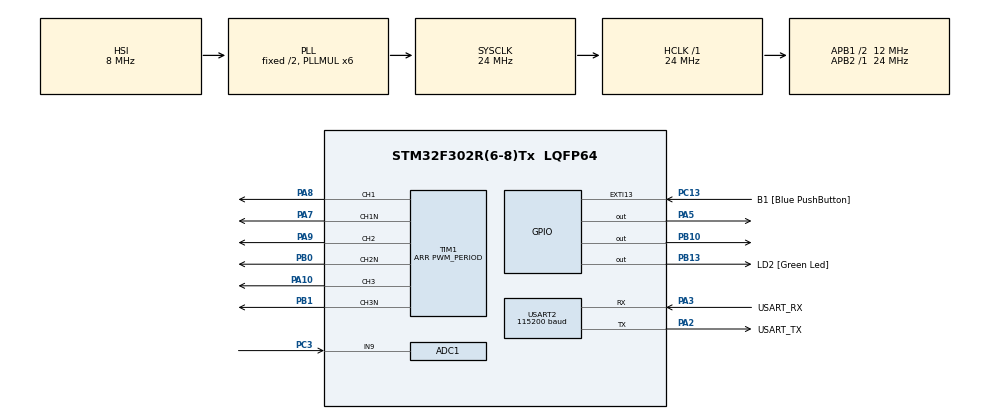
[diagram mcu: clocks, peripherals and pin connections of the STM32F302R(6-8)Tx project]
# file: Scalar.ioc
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ADC1.Channel-0\#ChannelRegularConversion=ADC_CHANNEL_9
ADC1.ContinuousConvMode=ENABLE
ADC1.NbrOfConversionFlag=1
ADC1.Offset-0\#ChannelRegularConversion=0
ADC1.OffsetNumber-0\#ChannelRegularConversion=ADC_OFFSET_NONE
ADC1.Rank-0\#ChannelRegularConversion=1
ADC1.SamplingTime-0\#ChannelRegularConversion=ADC_SAMPLETIME_1CYCLE_5
ADC1.SubFamily=STM32F302x8
ADC1.master=1
Mcu.Family=STM32F3
Mcu.Name=STM32F302R(6-8)Tx
Mcu.Package=LQFP64
Mcu.UserConstants=PWM_PRSC,0;CKTIM,24000000;PWM_FREQ,14400;DEADTIME_NS,1000;PWM_PERIOD,833
NVIC.PriorityGroup=NVIC_PRIORITYGROUP_0
NVIC.TIM6_DAC_IRQn=true\:0\:0\:false\:false\:true
PA10.GPIO_Speed=GPIO_SPEED_FREQ_HIGH
PA10.Signal=S_TIM1_CH3
PA13.GPIO_Label=TMS
PA13.Mode=Serial_Wire
PA13.Signal=SYS_JTMS-SWDIO
PA14.GPIO_Label=TCK
PA14.Mode=Serial_Wire
PA14.Signal=SYS_JTCK-SWCLK
PA2.GPIO_Label=USART_TX
PA2.GPIO_Mode=GPIO_MODE_AF_PP
PA2.GPIO_PuPd=GPIO_NOPULL
PA2.GPIO_Speed=GPIO_SPEED_FREQ_LOW
PA2.Mode=Asynchronous
PA2.Signal=USART2_TX
PA3.GPIO_Label=USART_RX
PA3.GPIO_Mode=GPIO_MODE_AF_PP
PA3.GPIO_PuPd=GPIO_NOPULL
PA3.GPIO_Speed=GPIO_SPEED_FREQ_LOW
PA3.Mode=Asynchronous
PA3.Signal=USART2_RX
PA5.Signal=GPIO_Output
PA7.GPIO_Speed=GPIO_SPEED_FREQ_HIGH
PA7.Mode=PWM Generation1 CH1 CH1N
PA7.Signal=TIM1_CH1N
PA8.GPIO_Speed=GPIO_SPEED_FREQ_HIGH
PA8.Signal=S_TIM1_CH1
PA9.GPIO_Speed=GPIO_SPEED_FREQ_HIGH
PA9.Signal=S_TIM1_CH2
PB0.GPIO_Speed=GPIO_SPEED_FREQ_HIGH
PB0.Mode=PWM Generation2 CH2 CH2N
PB0.Signal=TIM1_CH2N
PB1.GPIO_Speed=GPIO_SPEED_FREQ_HIGH
PB1.Mode=PWM Generation3 CH3 CH3N
PB1.Signal=TIM1_CH3N
PB10.Signal=GPIO_Output
PB13.GPIO_Label=LD2 [Green Led]
PB13.Signal=GPIO_Output
PB3.GPIO_Label=SWO
PB3.Signal=SYS_JTDO-TRACESWO
PC13.GPIO_Label=B1 [Blue PushButton]
PC13.GPIO_ModeDefaultEXTI=GPIO_MODE_EVT_RISING
PC13.Signal=GPXTI13
PC14\ -\ OSC32_IN.Signal=RCC_OSC32_IN
PC15\ -\ OSC32_OUT.Signal=RCC_OSC32_OUT
PC3.Signal=ADCx_IN9
PF0-OSC_IN.Signal=RCC_OSC_IN
PF1-OSC_OUT.Signal=RCC_OSC_OUT
ProjectManager.HeapSize=0x200
ProjectManager.StackSize=0x400
ProjectManager.TargetToolchain=SW4STM32
RCC.AHBFreq_Value=24000000
RCC.APB1CLKDivider=RCC_HCLK_DIV2
RCC.APB1Freq_Value=12000000
RCC.APB1TimFreq_Value=24000000
RCC.APB2Freq_Value=24000000
RCC.APB2TimFreq_Value=24000000
RCC.CortexFreq_Value=24000000
RCC.HCLKFreq_Value=24000000
RCC.HSE_VALUE=8000000
RCC.HSI_VALUE=8000000
RCC.LSE_VALUE=32768
RCC.PLLM=8
RCC.PLLMUL=RCC_PLL_MUL6
RCC.PLLN=336
RCC.PLLP=RCC_PLLP_DIV4
RCC.PLLQ=7
RCC.RCC_PLLsource_Clock_Source_FROM_HSE=RCC_HSE_PREDIV_DIV2
RCC.SYSCLKFreq_VALUE=24000000
RCC.SYSCLKSourceVirtual=RCC_SYSCLKSOURCE_PLLCLK
RCC.USBFreq_Value=24000000
SH.ADCx_IN9.0=ADC1_IN9,IN9-Single-Ended
SH.S_TIM1_CH1.0=TIM1_CH1,PWM Generation1 CH1 CH1N
SH.S_TIM1_CH2.0=TIM1_CH2,PWM Generation2 CH2 CH2N
SH.S_TIM1_CH3.0=TIM1_CH3,PWM Generation3 CH3 CH3N
TIM1.Channel-PWM\ Generation2\ CH2\ CH2N=TIM_CHANNEL_2
TIM1.Channel-PWM\ Generation3\ CH3\ CH3N=TIM_CHANNEL_3
TIM1.ClockDivision=TIM_CLOCKDIVISION_DIV2
TIM1.CounterMode=TIM_COUNTERMODE_CENTERALIGNED1
TIM1.DeadTime=12
TIM1.LockLevel=TIM_LOCKLEVEL_1
TIM1.OCFastMode_PWM-PWM\ Generation1\ CH1\ CH1N=TIM_OCFAST_DISABLE
TIM1.OCFastMode_PWM-PWM\ Generation2\ CH2\ CH2N=TIM_OCFAST_DISABLE
TIM1.OCFastMode_PWM-PWM\ Generation3\ CH3\ CH3N=TIM_OCFAST_DISABLE
TIM1.OffStateIDLEMode=TIM_OSSI_ENABLE
TIM1.OffStateRunMode=TIM_OSSR_ENABLE
TIM1.Period=PWM_PERIOD
TIM1.Pulse-PWM\ Generation1\ CH1\ CH1N=0x505
TIM1.Pulse-PWM\ Generation2\ CH2\ CH2N=0x505
TIM1.Pulse-PWM\ Generation3\ CH3\ CH3N=0x505
TIM1.RepetitionCounter=1
TIM1.TIM_MasterOutputTrigger=TIM_TRGO_UPDATE
TIM6.Period=99
TIM6.Prescaler=23
USART2.BaudRate=115200
USART2.WordLength=UART_WORDLENGTH_8B
VP_TIM1_VS_ClockSourceINT.Mode=Internal
VP_TIM6_VS_ClockSourceINT.Mode=Enable_Timer
board=NUCLEO-F302R8

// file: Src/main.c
/**
  ******************************************************************************
  * File Name          : main.c
  * Description        : Main program body
  ******************************************************************************
  *
  * COPYRIGHT(c) 2016 STMicroelectronics
  *
  * Redistribution and use in source and binary forms, with or without modification,
  * are permitted provided that the following conditions are met:
  *   1. Redistributions of source code must retain the above copyright notice,
  *      this list of conditions and the following disclaimer.
  *   2. Redistributions in binary form must reproduce the above copyright notice,
  *      this list of conditions and the following disclaimer in the documentation
  *      and/or other materials provided with the distribution.
  *   3. Neither the name of STMicroelectronics nor the names of its contributors
  *      may be used to endorse or promote products derived from this software
  *      without specific prior written permission.
  *
  * THIS SOFTWARE IS PROVIDED BY THE COPYRIGHT HOLDERS AND CONTRIBUTORS "AS IS"
  * AND ANY EXPRESS OR IMPLIED WARRANTIES, INCLUDING, BUT NOT LIMITED TO, THE
  * IMPLIED WARRANTIES OF MERCHANTABILITY AND FITNESS FOR A PARTICULAR PURPOSE ARE
  * DISCLAIMED. IN NO EVENT SHALL THE COPYRIGHT HOLDER OR CONTRIBUTORS BE LIABLE
  * FOR ANY DIRECT, INDIRECT, INCIDENTAL, SPECIAL, EXEMPLARY, OR CONSEQUENTIAL
  * DAMAGES (INCLUDING, BUT NOT LIMITED TO, PROCUREMENT OF SUBSTITUTE GOODS OR
  * SERVICES; LOSS OF USE, DATA, OR PROFITS; OR BUSINESS INTERRUPTION) HOWEVER
  * CAUSED AND ON ANY THEORY OF LIABILITY, WHETHER IN CONTRACT, STRICT LIABILITY,
  * OR TORT (INCLUDING NEGLIGENCE OR OTHERWISE) ARISING IN ANY WAY OUT OF THE USE
  * OF THIS SOFTWARE, EVEN IF ADVISED OF THE POSSIBILITY OF SUCH DAMAGE.
  *
  ******************************************************************************
  */
#include "stm32f3xx_hal.h"
#include "adc.h"
#include "tim.h"
#include "usart.h"
#include "gpio.h"

/* USER CODE BEGIN Includes */
#include "MC_const.h"
#include "MC_type.h"
/* USER CODE END Includes */

/* USER CODE BEGIN PV */
/* Private variables ---------------------------------------------------------*/
unsigned int iAccumulator = 0;
volatile unsigned int iFreqCode = 0;
volatile uint8_t cBotState = SET;
volatile uint8_t cRampTurnOnOff = 0;
Volt_Components Stat_Volt_alfa_beta;        /*Valpha & Vbeta, RevPark transformations of Vq & Vd*/
uint8_t iTableAddr = 0;
//static s16 hSin_Theta,*/ hCos_Theta;
const int16_t hSin_Cos_Table[256] = SIN_COS_TABLE;
extern volatile unsigned int iRampTick;
/* USER CODE END PV */

void SystemClock_Config(void);
void Error_Handler(void);

/* USER CODE BEGIN PFP */
/* Private function prototypes -----------------------------------------------*/
void RampTurnOn(void);
void RampTurnOff(void);
void GPIO_Set_Led3(unsigned char On);
void GPIO_Set_Led4(unsigned char On);
void GPIO_Set_Sync(unsigned char On);
unsigned char GPIO_GetBtn();
uint32_t Adc_Read(uint8_t channel);
void SVPWM_IcsCalcDutyCycles (Volt_Components Stat_Volt_Input);
void UpdatePWM();
/* USER CODE END PFP */

/* USER CODE BEGIN 0 */
#define LED3_GPIO_PORT          GPIOA
#define LED3_GPIO_PIN           GPIO_PIN_5

#define LED4_GPIO_PORT          GPIOB
#define LED4_GPIO_PIN           GPIO_PIN_13

#define BTN_GPIO_PORT          GPIOC
#define BTN_GPIO_PIN           GPIO_PIN_13

#define SQRT_3		1.732051
#define T		(PWM_PERIOD * 4)
#define T_SQRT3         (uint16_t)(T * SQRT_3)

#define SECTOR_1	(uint32_t)1
#define SECTOR_2	(uint32_t)2
#define SECTOR_3	(uint32_t)3
#define SECTOR_4	(uint32_t)4
#define SECTOR_5	(uint32_t)5
#define SECTOR_6	(uint32_t)6
/* USER CODE END 0 */

int main(void)
{

  /* MCU Configuration----------------------------------------------------------*/

  /* Reset of all peripherals, Initializes the Flash interface and the Systick. */
  HAL_Init();

  /* Configure the system clock */
  SystemClock_Config();

  /* Initialize all configured peripherals */
  MX_GPIO_Init();
  MX_ADC1_Init();
  MX_TIM1_Init();
  MX_TIM6_Init();
  MX_USART2_UART_Init();

  /* USER CODE BEGIN 2 */
//  TIM_Cmd(TIM1, ENABLE);
//  TIM_CtrlPWMOutputs( TIM1, ENABLE);
  /* USER CODE END 2 */

  /* Infinite loop */
  /* USER CODE BEGIN WHILE */
  HAL_TIM_Base_Start(&htim1);
  HAL_TIM_PWM_Start(&htim1,TIM_CHANNEL_1);
  HAL_TIM_PWM_Start(&htim1,TIM_CHANNEL_2);
  HAL_TIM_PWM_Start(&htim1,TIM_CHANNEL_3);
  HAL_TIMEx_PWMN_Start(&htim1,TIM_CHANNEL_1);
  HAL_TIMEx_PWMN_Start(&htim1,TIM_CHANNEL_2);
  HAL_TIMEx_PWMN_Start(&htim1,TIM_CHANNEL_3);
  while (1)
  {
  /* USER CODE END WHILE */

  /* USER CODE BEGIN 3 */

    iFreqCode = Adc_Read(13)*5243;
//    if(cBotState == RESET)
//    {
//      if(cRampTurnOnOff == TURN_ON)
//      {
//        RampTurnOn();
//      }
//      else if (cRampTurnOnOff == TURN_OFF)
//      {
//        RampTurnOff();
//      }
//      cBotState = SET;
//    }
//    if (cRampTurnOnOff == TURN_POT)
//    {
//      iFreqCode = Adc_Read(13)*5243;
//    }
  }
  /* USER CODE END 3 */

}

/** System Clock Configuration
*/
void SystemClock_Config(void)
{

  RCC_OscInitTypeDef RCC_OscInitStruct;
  RCC_ClkInitTypeDef RCC_ClkInitStruct;
  RCC_PeriphCLKInitTypeDef PeriphClkInit;

  RCC_OscInitStruct.OscillatorType = RCC_OSCILLATORTYPE_HSI;
  RCC_OscInitStruct.HSIState = RCC_HSI_ON;
  RCC_OscInitStruct.HSICalibrationValue = 16;
  RCC_OscInitStruct.PLL.PLLState = RCC_PLL_ON;
  RCC_OscInitStruct.PLL.PLLSource = RCC_PLLSOURCE_HSI;
  RCC_OscInitStruct.PLL.PLLMUL = RCC_PLL_MUL6;
  if (HAL_RCC_OscConfig(&RCC_OscInitStruct) != HAL_OK)
  {
    Error_Handler();
  }

  RCC_ClkInitStruct.ClockType = RCC_CLOCKTYPE_HCLK|RCC_CLOCKTYPE_SYSCLK
                              |RCC_CLOCKTYPE_PCLK1|RCC_CLOCKTYPE_PCLK2;
  RCC_ClkInitStruct.SYSCLKSource = RCC_SYSCLKSOURCE_PLLCLK;
  RCC_ClkInitStruct.AHBCLKDivider = RCC_SYSCLK_DIV1;
  RCC_ClkInitStruct.APB1CLKDivider = RCC_HCLK_DIV2;
  RCC_ClkInitStruct.APB2CLKDivider = RCC_HCLK_DIV1;
  if (HAL_RCC_ClockConfig(&RCC_ClkInitStruct, FLASH_LATENCY_0) != HAL_OK)
  {
    Error_Handler();
  }

  PeriphClkInit.PeriphClockSelection = RCC_PERIPHCLK_TIM1|RCC_PERIPHCLK_ADC1;
  PeriphClkInit.Tim1ClockSelection = RCC_TIM1CLK_HCLK;
  PeriphClkInit.Adc1ClockSelection = RCC_ADC1PLLCLK_DIV1;
  if (HAL_RCCEx_PeriphCLKConfig(&PeriphClkInit) != HAL_OK)
  {
    Error_Handler();
  }

  HAL_SYSTICK_Config(HAL_RCC_GetHCLKFreq()/10000);

  HAL_SYSTICK_CLKSourceConfig(SYSTICK_CLKSOURCE_HCLK);

  /* SysTick_IRQn interrupt configuration */
  HAL_NVIC_SetPriority(-1, 0, 0);
}

/* USER CODE BEGIN 4 */
void GPIO_Set_Led3(unsigned char On)
{
  if (On)
    LED3_GPIO_PORT->BSRR = LED3_GPIO_PIN;
  else
    LED3_GPIO_PORT->BRR = LED3_GPIO_PIN;
}

void GPIO_Set_Led4(unsigned char On)
{
  if (On)
    LED4_GPIO_PORT->BSRR = LED4_GPIO_PIN;
  else
    LED4_GPIO_PORT->BRR = LED4_GPIO_PIN;
}

void GPIO_Set_Sync(unsigned char On)
{
  if (On)
    GPIOB->BSRR = GPIO_PIN_10;
  else
    GPIOB->BRR = GPIO_PIN_10;
}

unsigned char GPIO_GetBtn()
{
  return HAL_GPIO_ReadPin(BTN_GPIO_PORT, BTN_GPIO_PIN);
}

uint32_t adc_read;
uint32_t Adc_Read(uint8_t channel)
{
  //uint8_t channel = 0;
  //uint8_t channel = 10;
  //ADC_RegularChannelConfig(ADC1, channel, 1, ADC_SampleTime_1Cycles5);
  // Start the conversion
//  ADC_SoftwareStartConvCmd(ADC1, ENABLE);
  HAL_ADC_Start(&hadc1);
  // Wait until conversion completion
  //while(ADC_GetFlagStatus(ADC1, ADC_FLAG_EOC) == RESET);
  HAL_ADC_PollForConversion(&hadc1,1000);
  // Get the conversion value
//  return ADC_GetConversionValue(ADC1);
  adc_read = HAL_ADC_GetValue(&hadc1);
  return adc_read;
}

void RampTurnOn(void)
{
  unsigned int iFreq;
  iFreq = iFreqCode/5243; //get the current frequency
  while (iFreq < 4095)
  {
    if(!iRampTick)
    {
      iFreq +=163; //2Hz upgrade in final frequency
      iFreqCode = iFreq*5243;
      iRampTick = 1000;
    }
  }

}

void RampTurnOff(void)
{
  unsigned int iFreq;
  iFreq = iFreqCode/5243; //get the current frequency
  while (iFreq > 165 )
  {
    if(!iRampTick)
    {
      iFreq -=163; //2Hz decrement in the final frequency
      iFreqCode = iFreq*5243;
      iRampTick = 1000;
    }
  }
  iFreqCode = 0;
}

/*******************************************************************************
* Function Name  : SVPWM_IcsCalcDutyCycles
* Description    : Computes duty cycle values corresponding to the input value
and configures
* Input          : Stat_Volt_alfa_beta
* Output         : None
* Return         : None
*******************************************************************************/

void SVPWM_IcsCalcDutyCycles (Volt_Components Stat_Volt_Input)
{
  uint8_t bSector;
  int32_t wX, wY, wZ, wUAlpha, wUBeta;
  uint16_t  hTimePhA=0, hTimePhB=0, hTimePhC=0;

  wUAlpha = Stat_Volt_Input.qV_Component1 * T_SQRT3 ;
  wUBeta = -(Stat_Volt_Input.qV_Component2 * T);

  wX = wUBeta;
  wY = (wUBeta + wUAlpha)/2;
  wZ = (wUBeta - wUAlpha)/2;

  // Sector calculation from wX, wY, wZ
  if (wY<0)
  {
    if (wZ<0)
    {
      bSector = SECTOR_5;
    }
    else // wZ >= 0
      if (wX<=0)
      {
        bSector = SECTOR_4;
      }
      else // wX > 0
      {
        bSector = SECTOR_3;
      }
  }
  else // wY > 0
  {
    if (wZ>=0)
    {
      bSector = SECTOR_2;
    }
    else // wZ < 0
      if (wX<=0)
      {
        bSector = SECTOR_6;
      }
      else // wX > 0
      {
        bSector = SECTOR_1;
      }
  }

  /* Duty cycles computation */

  switch(bSector)
  {
  case SECTOR_1:
  case SECTOR_4:
    hTimePhA = (T/8) + ((((T + wX) - wZ)/2)/131072);
    hTimePhB = hTimePhA + wZ/131072;
    hTimePhC = hTimePhB - wX/131072;
    break;
  case SECTOR_2:
  case SECTOR_5:
    hTimePhA = (T/8) + ((((T + wY) - wZ)/2)/131072);
    hTimePhB = hTimePhA + wZ/131072;
    hTimePhC = hTimePhA - wY/131072;
    break;

  case SECTOR_3:
  case SECTOR_6:
    hTimePhA = (T/8) + ((((T - wX) + wY)/2)/131072);
    hTimePhC = hTimePhA - wY/131072;
    hTimePhB = hTimePhC + wX/131072;
    break;
  default:
    break;
  }

  /* Load compare registers values */

  TIM1->CCR1 = hTimePhA;
  TIM1->CCR2 = hTimePhB;
  TIM1->CCR3 = hTimePhC;
}

void UpdatePWM()
{
  iAccumulator = iAccumulator + iFreqCode;

  iTableAddr = iAccumulator >> 24;
  Stat_Volt_alfa_beta.qV_Component1 = hSin_Cos_Table[(iTableAddr+OFFSET)&0xFF] / 2;
  Stat_Volt_alfa_beta.qV_Component2 = hSin_Cos_Table[iTableAddr] / 2;
  SVPWM_IcsCalcDutyCycles(Stat_Volt_alfa_beta);

  if (Stat_Volt_alfa_beta.qV_Component2 & 0x8000)
  {
    GPIO_Set_Led4(1);
    GPIO_Set_Sync(1);
  }
  else
  {
    GPIO_Set_Led4(0);
    GPIO_Set_Sync(0);
  }
}
/* USER CODE END 4 */

void Error_Handler(void)
{
  while(1)
  {
  }
}

/************************ (C) COPYRIGHT STMicroelectronics *****END OF FILE****/
